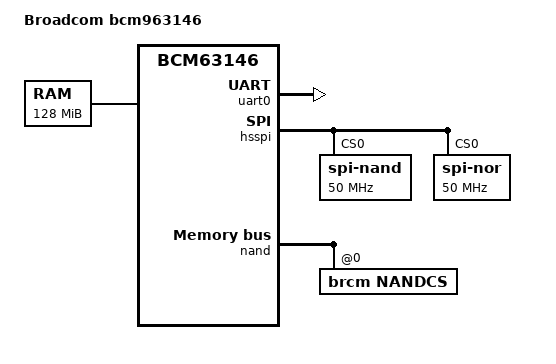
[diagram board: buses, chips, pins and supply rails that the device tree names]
// SPDX-License-Identifier: GPL-2.0+
/*
 * Copyright (C) 2019 Philippe Reynes <philippe.reynes@softathome.com>
 */

/dts-v1/;

#include "bcm63146.dtsi"

/ {
	model = "Broadcom bcm963146";
	compatible = "broadcom,bcm963146", "brcm,bcm63146";

	aliases {
		serial0 = &uart0;
		spi1 = &hsspi;		
	};

	chosen {
		stdout-path = "serial0:115200n8";
	};

	memory {
		device_type = "memory";
		reg = <0x0 0x0 0x0 0x08000000>;
	};

	boot_state {
		u-boot,dm-pre-reloc;
		compatible = "brcm,bcmbca-bootstate-v2";
		reg-names = "reset_reason", "reset_status";
		reg =   <0x0 0xff802628 0x0 0x04>,
			<0x0 0xff85a01c 0x0 0x04>;
	};


};

&uart0 {
	u-boot,dm-pre-reloc;
	status = "okay";
};

&hsspi {
	status = "okay";
	spi-nand {
		pinctrl-0 = <&hs_spim_ss_0_b_pin_36>;
		pinctrl-names = "default";
		compatible = "spi-nand";
		reg = <0>;
		#address-cells = <1>;
		#size-cells = <0>;
		u-boot,dm-pre-reloc;				
		spi-max-frequency = <50000000>;
	};
	spi-nor@0 {
		pinctrl-0 = <&hs_spim_ss_0_b_pin_36>;
		pinctrl-names = "default";
		compatible = "jedec,spi-nor";
		reg = <0>;
		#address-cells = <1>;
		#size-cells = <0>;
		spi-max-frequency = <50000000>;
		u-boot,dm-pre-reloc;
	};	
};

&nand {
	pinctrl-0 = <&data_pins &nand_ctrl_pins &nand_wpb_pin_27>;
	status = "okay";
	write-protect = <1>;
	#address-cells = <1>;
	#size-cells = <0>;

	nandcs@0 {
		compatible = "brcm,nandcs";
		reg = <0>;
	};
};

&mdio {
	phy_gphy0 {
		status = "okay";
	};

	phy_gphy1 {
		status = "okay";
	};

	phy_gphy2 {
		status = "okay";
	};

	phy_gphy3 {
		status = "okay";
	};

	phy_gphy4 {
		status = "okay";
	};
};

&switch0 {
	ports {
		port_gphy0 {
			status = "okay";
		};

		port_gphy1 {
			status = "okay";
		};

		port_gphy2 {
			status = "okay";
		};

		port_gphy3 {
			status = "okay";
		};

		port_gphy4 {
			status = "okay";
		};

	};
};

